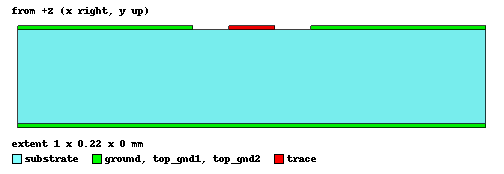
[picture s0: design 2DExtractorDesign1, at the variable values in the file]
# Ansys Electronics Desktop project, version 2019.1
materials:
  copper: permeability=0.999991 conductivity=58000000
  FR4_epoxy: permittivity=4.4 dielectric_loss_tangent=0.02
  Rogers RT/duroid 5880 (tm): permittivity=2.2 dielectric_loss_tangent=0.0009
  silicon_lossy: permittivity=10.287+0.0703188*ln((2.53303e+022+Freq*Freq)/(4.97731e+009+Freq*Freq)) conductivity=7.82402e-012*Freq*(atan(Freq/70550)-atan(Freq/1.59155e+011))
  vacuum: permittivity=1

design 2DExtractorDesign1 (2D Extractor, Open, model units mm)
options: SParamCalcMethod=EqTransLine LumpedLength=1meter RiseTime=1ns DistribLengthUnits=meter
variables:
  diel_thick = 0.2mm
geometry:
  substrate [silicon_lossy] = rectangle(corner=(-0.5mm, 0mm, 0mm), x_size=1mm, y_size=diel_thick)
  ground [copper] = rectangle(corner=(-0.5mm, 0mm, 0mm), x_size=1mm, y_size=-0.01mm)
  top_gnd1 [copper] = rectangle(corner=(-0.5mm, diel_thick, 0mm), x_size=0.374mm, y_size=0.01mm)
  top_gnd2 [copper] = top_gnd1.duplicate_mirror(point=(0mm, 0mm, 0mm), normal=(1mm, 0mm, 0mm))
  trace [copper] = rectangle(corner=(-0.05mm, diel_thick, 0mm), x_size=0.1mm, y_size=0.01mm)
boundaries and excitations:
  trace: SignalLine Objects=trace SolveOption=SolveInside Thickness=-1000mm
  ground: ReferenceGround Objects=ground SolveOption=SolveInside Thickness=-1000mm
  top_gnd1: NonIdealGround Objects=[top_gnd1, top_gnd2] SolveOption=SolveInside Thickness=-1000mm
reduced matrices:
  RM1: Operations{op(AddGround1, 0, "AddGround(SelectionArray[1: 6], OverrideInfo())")}
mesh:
  initial mesh: MeshMethod=AnsoftClassic
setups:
  Setup1: 2DMatrix AdaptiveFreq=3GHz SaveFields CGDataBlock{MaxPass=10 MinPass=1 MinConvPass=2 PerError=1 PerRefine=30 Included PerErrorParamConv=1 UseLossConv} RLDataBlock{MaxPass=20 MinPass=1 MinConvPass=2 PerError=1 PerRefine=30 Included PerErrorParamConv=1 UseLossConv}
    sweep Sweep1: 0.1GHz to 3GHz step 0.1GHz; Type=Discrete
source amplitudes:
  trace: CG Fields 1V 0deg
  top_gnd1: CG Fields 0V 0deg
  trace: RL Fields 1A 0deg
  top_gnd1: RL Fields 0A 0deg
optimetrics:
  ParametricSetup1: Parametric Sim._Setups=[Setup1]
    sweep diel_thick: LIN 0.2mm 0.5mm 0.05mm
    calculate R(trace,trace) on Setup1 : LastAdaptive at Freq 3GHz to 3GHz
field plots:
  Jrl1: J over ground.face top_gnd1.face(at (-0.313, 0.205, 0)) top_gnd2.face trace.face on Setup1 : LastAdaptive at Freq=3GHz Phase=0deg
  VectorE1: E over substrate.face on Setup1 : LastAdaptive at Freq=3GHz Phase=0deg
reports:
  XY Plot 1: R(trace,trace) vs Freq on Setup1 : Sweep1
  XY Plot 2: G(trace,trace) vs Freq on Setup1 : Sweep1
  Velocity Plot 1: VelModal(Mode1) vs Freq on Setup1 : Sweep1

design Circuit1 (Circuit)
options: SParamCircuitDef IntegrationMethod=FFT
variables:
  Wground = 0
  Pground = 0
  G = 0fraction
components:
  A14 = MS_TRL(W=26.5mil P=200mil)
  A1 = MS_TRL(W=1.45mm P=40.55mm)
  A2 = MS_TRL(W=3mm P=40.55mm)
  A3 = MS_TRL(W=5.8mm P=40.55mm)
  port Port1 pnum=1 rz=50ohm iz=0ohm
  port Port2 pnum=2 rz=10ohm iz=0ohm noisetemp=16.85 noisetemporig=16.85cel
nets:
  net_3: A1.0, A14.1
  net_4: A2.0, A1.1
  net_5: A2.1, A3.0
  Port1: A14.0
  Port2: A3.1
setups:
  LinearFrequency: LinearFrequencyData(false, 0.1, false, "", false) SweepDefinition{Variable=F Data="DEC 0.01GHz 3GHz 10000"}
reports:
  S Parameter Plot 1: dB(S(Port1,Port1)) vs F on LinearFrequency : LinearFrequency
  S Parameter Plot 2: dB(S(Port1,Port2)) vs F on LinearFrequency : LinearFrequency
